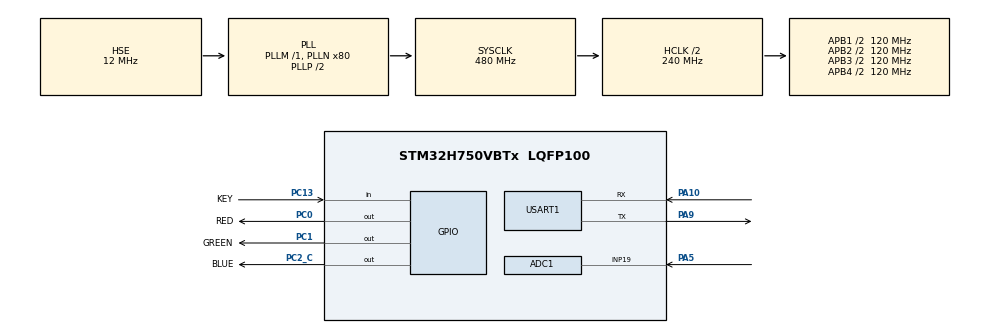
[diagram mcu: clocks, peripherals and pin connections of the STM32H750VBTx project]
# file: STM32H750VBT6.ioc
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ADC1.Channel-1\#ChannelRegularConversion=ADC_CHANNEL_19
ADC1.ClockPrescaler=ADC_CLOCK_ASYNC_DIV10
ADC1.ContinuousConvMode=ENABLE
ADC1.ConversionDataManagement=ADC_CONVERSIONDATA_DMA_CIRCULAR
ADC1.NbrOfConversionFlag=1
ADC1.OffsetNumber-1\#ChannelRegularConversion=ADC_OFFSET_NONE
ADC1.OffsetSignedSaturation-1\#ChannelRegularConversion=DISABLE
ADC1.Rank-1\#ChannelRegularConversion=1
ADC1.SamplingTime-1\#ChannelRegularConversion=ADC_SAMPLETIME_1CYCLE_5
ADC1.master=1
CORTEX_M7.CPU_DCache=Enabled
CORTEX_M7.CPU_ICache=Enabled
CORTEX_M7.MPU_Control=__NULL
Dma.ADC1.0.Direction=DMA_PERIPH_TO_MEMORY
Dma.ADC1.0.EventEnable=DISABLE
Dma.ADC1.0.FIFOMode=DMA_FIFOMODE_DISABLE
Dma.ADC1.0.Instance=DMA1_Stream0
Dma.ADC1.0.MemDataAlignment=DMA_MDATAALIGN_HALFWORD
Dma.ADC1.0.MemInc=DMA_MINC_ENABLE
Dma.ADC1.0.Mode=DMA_CIRCULAR
Dma.ADC1.0.PeriphDataAlignment=DMA_PDATAALIGN_HALFWORD
Dma.ADC1.0.PeriphInc=DMA_PINC_DISABLE
Dma.ADC1.0.Polarity=HAL_DMAMUX_REQ_GEN_RISING
Dma.ADC1.0.Priority=DMA_PRIORITY_LOW
Dma.ADC1.0.RequestNumber=1
Dma.ADC1.0.SignalID=NONE
Dma.ADC1.0.SyncEnable=DISABLE
Dma.ADC1.0.SyncPolarity=HAL_DMAMUX_SYNC_NO_EVENT
Dma.ADC1.0.SyncRequestNumber=1
Dma.ADC1.0.SyncSignalID=NONE
Dma.Request0=ADC1
Mcu.Family=STM32H7
Mcu.Name=STM32H750VBTx
Mcu.Package=LQFP100
NVIC.DMA1_Stream0_IRQn=true\:0\:0\:false\:false\:true\:false\:true
NVIC.PriorityGroup=NVIC_PRIORITYGROUP_2
NVIC.USART1_IRQn=true\:0\:0\:false\:false\:true\:true\:true
PA10.Mode=Asynchronous
PA10.Signal=USART1_RX
PA13\ (JTMS/SWDIO).Mode=Serial_Wire
PA13\ (JTMS/SWDIO).Signal=DEBUG_JTMS-SWDIO
PA14\ (JTCK/SWCLK).Mode=Serial_Wire
PA14\ (JTCK/SWCLK).Signal=DEBUG_JTCK-SWCLK
PA5.Signal=ADCx_INP19
PA9.Mode=Asynchronous
PA9.Signal=USART1_TX
PC0.GPIO_Label=RED
PC0.GPIO_PuPd=GPIO_PULLUP
PC0.PinState=GPIO_PIN_SET
PC0.Signal=GPIO_Output
PC1.GPIO_Label=GREEN
PC1.GPIO_PuPd=GPIO_PULLUP
PC1.GPIO_Speed=GPIO_SPEED_FREQ_LOW
PC1.PinState=GPIO_PIN_SET
PC1.Signal=GPIO_Output
PC13.GPIO_Label=KEY
PC13.GPIO_PuPd=GPIO_PULLUP
PC13.Signal=GPIO_Input
PC14-OSC32_IN\ (OSC32_IN).Mode=LSE-External-Oscillator
PC14-OSC32_IN\ (OSC32_IN).Signal=RCC_OSC32_IN
PC15-OSC32_OUT\ (OSC32_OUT).Mode=LSE-External-Oscillator
PC15-OSC32_OUT\ (OSC32_OUT).Signal=RCC_OSC32_OUT
PC2_C.GPIO_Label=BLUE
PC2_C.GPIO_PuPd=GPIO_PULLUP
PC2_C.PinState=GPIO_PIN_SET
PC2_C.Signal=GPIO_Output
PH0-OSC_IN\ (PH0).Mode=HSE-External-Oscillator
PH0-OSC_IN\ (PH0).Signal=RCC_OSC_IN
PH1-OSC_OUT\ (PH1).Mode=HSE-External-Oscillator
PH1-OSC_OUT\ (PH1).Signal=RCC_OSC_OUT
ProjectManager.HeapSize=0x800
ProjectManager.StackSize=0x800
ProjectManager.TargetToolchain=MDK-ARM V5
RCC.ADCCLockSelection=RCC_ADCCLKSOURCE_PLL3
RCC.ADCFreq_Value=60000000
RCC.APB1Freq_Value=120000000
RCC.APB2Freq_Value=120000000
RCC.APB3Freq_Value=120000000
RCC.APB4Freq_Value=120000000
RCC.CortexFreq_Value=480000000
RCC.D1PPRE=RCC_APB3_DIV2
RCC.D2PPRE1=RCC_APB1_DIV2
RCC.D2PPRE2=RCC_APB2_DIV2
RCC.D3PPRE=RCC_APB4_DIV2
RCC.DIVM1=1
RCC.DIVM2=1
RCC.DIVM3=1
RCC.DIVN1=80
RCC.DIVN2=80
RCC.DIVN3=80
RCC.DIVR3=16
RCC.FLatency=FLASH_LATENCY_4
RCC.HCLKFreq_Value=240000000
RCC.HPRE=RCC_HCLK_DIV2
RCC.HSE_VALUE=12000000
RCC.PLLFRACN=0
RCC.PLLSourceVirtual=RCC_PLLSOURCE_HSE
RCC.PWR_Regulator_Voltage_Scale=PWR_REGULATOR_VOLTAGE_SCALE0
RCC.ProductRev=revV
RCC.SYSCLKFreq_VALUE=480000000
RCC.SYSCLKSource=RCC_SYSCLKSOURCE_PLLCLK
RCC.USBFreq_Value=480000000
SH.ADCx_INP19.0=ADC1_INP19,IN19-Single-Ended
USART1.VirtualMode-Asynchronous=VM_ASYNC
board=custom

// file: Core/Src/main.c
/* USER CODE BEGIN Header */
/**
  ******************************************************************************
  * @file           : main.c
  * @brief          : Main program body
  ******************************************************************************
  * @attention
  *
  * <h2><center>&copy; Copyright (c) 2021 STMicroelectronics.
  * All rights reserved.</center></h2>
  *
  * This software component is licensed by ST under BSD 3-Clause license,
  * the "License"; You may not use this file except in compliance with the
  * License. You may obtain a copy of the License at:
  *                        opensource.org/licenses/BSD-3-Clause
  *
  ******************************************************************************
  */
/* USER CODE END Header */
#include "main.h"
#include "adc.h"
#include "dma.h"
#include "usart.h"
#include "gpio.h"

/* USER CODE BEGIN Includes */
#include "BSP_GPIO.h"
#include "BSP_USART.h"
#include "BSP_adc.h"
#include "stdio.h"
/* USER CODE END Includes */

void SystemClock_Config(void);

/* USER CODE BEGIN 0 */

	u8 t;
	u32 ADC_VALUE;
	float voltage;

/* USER CODE END 0 */

int main(void)
{

  /* Enable I-Cache---------------------------------------------------------*/
  SCB_EnableICache();

  /* Enable D-Cache---------------------------------------------------------*/
  SCB_EnableDCache();

  /* MCU Configuration--------------------------------------------------------*/

  /* Reset of all peripherals, Initializes the Flash interface and the Systick. */
  HAL_Init();

  /* Configure the system clock */
  SystemClock_Config();

  /* Initialize all configured peripherals */
  MX_GPIO_Init();
  MX_USART1_UART_Init();
  MX_DMA_Init();
  MX_ADC1_Init();
  /* USER CODE BEGIN 2 */

	DSP_AdcStart();

  /* USER CODE END 2 */

  /* Infinite loop */
  /* USER CODE BEGIN WHILE */
  while (1)
  {
		for(u8 i=0;i<ADC_CONVERTED_DATA_BUFFER_SIZE-1;i++)
		{
			ADC_VALUE += aADCxConvertedData[i];
		}
		ADC_VALUE = ADC_VALUE / ADC_CONVERTED_DATA_BUFFER_SIZE;

		voltage = (float)ADC_VALUE * (3.3/65535);

		printf("ADC_VALUE:%6d\r\n",ADC_VALUE);
		printf("voltage:  %.6fV\r\n",voltage);
		printf("\r\n\r\n");

		HAL_GPIO_TogglePin(RED_GPIO_Port,RED_Pin);
		HAL_Delay(100);
    /* USER CODE END WHILE */

  }
}

void SystemClock_Config(void)
{
  RCC_OscInitTypeDef RCC_OscInitStruct = {0};
  RCC_ClkInitTypeDef RCC_ClkInitStruct = {0};

  /** Supply configuration update enable
  */
  HAL_PWREx_ConfigSupply(PWR_LDO_SUPPLY);
  /** Configure the main internal regulator output voltage
  */
  __HAL_PWR_VOLTAGESCALING_CONFIG(PWR_REGULATOR_VOLTAGE_SCALE0);

  while(!__HAL_PWR_GET_FLAG(PWR_FLAG_VOSRDY)) {}
  /** Macro to configure the PLL clock source
  */
  __HAL_RCC_PLL_PLLSOURCE_CONFIG(RCC_PLLSOURCE_HSE);
  /** Initializes the RCC Oscillators according to the specified parameters
  * in the RCC_OscInitTypeDef structure.
  */
  RCC_OscInitStruct.OscillatorType = RCC_OSCILLATORTYPE_HSE;
  RCC_OscInitStruct.HSEState = RCC_HSE_ON;
  RCC_OscInitStruct.PLL.PLLState = RCC_PLL_ON;
  RCC_OscInitStruct.PLL.PLLSource = RCC_PLLSOURCE_HSE;
  RCC_OscInitStruct.PLL.PLLM = 1;
  RCC_OscInitStruct.PLL.PLLN = 80;
  RCC_OscInitStruct.PLL.PLLP = 2;
  RCC_OscInitStruct.PLL.PLLQ = 2;
  RCC_OscInitStruct.PLL.PLLR = 2;
  RCC_OscInitStruct.PLL.PLLRGE = RCC_PLL1VCIRANGE_3;
  RCC_OscInitStruct.PLL.PLLVCOSEL = RCC_PLL1VCOWIDE;
  RCC_OscInitStruct.PLL.PLLFRACN = 0;
  if (HAL_RCC_OscConfig(&RCC_OscInitStruct) != HAL_OK)
  {
    Error_Handler();
  }
  /** Initializes the CPU, AHB and APB buses clocks
  */
  RCC_ClkInitStruct.ClockType = RCC_CLOCKTYPE_HCLK|RCC_CLOCKTYPE_SYSCLK
                              |RCC_CLOCKTYPE_PCLK1|RCC_CLOCKTYPE_PCLK2
                              |RCC_CLOCKTYPE_D3PCLK1|RCC_CLOCKTYPE_D1PCLK1;
  RCC_ClkInitStruct.SYSCLKSource = RCC_SYSCLKSOURCE_PLLCLK;
  RCC_ClkInitStruct.SYSCLKDivider = RCC_SYSCLK_DIV1;
  RCC_ClkInitStruct.AHBCLKDivider = RCC_HCLK_DIV2;
  RCC_ClkInitStruct.APB3CLKDivider = RCC_APB3_DIV2;
  RCC_ClkInitStruct.APB1CLKDivider = RCC_APB1_DIV2;
  RCC_ClkInitStruct.APB2CLKDivider = RCC_APB2_DIV2;
  RCC_ClkInitStruct.APB4CLKDivider = RCC_APB4_DIV2;

  if (HAL_RCC_ClockConfig(&RCC_ClkInitStruct, FLASH_LATENCY_4) != HAL_OK)
  {
    Error_Handler();
  }
}

void Error_Handler(void)
{
  __disable_irq();
  while (1)
  {
  }
}

/************************ (C) COPYRIGHT STMicroelectronics *****END OF FILE****/
